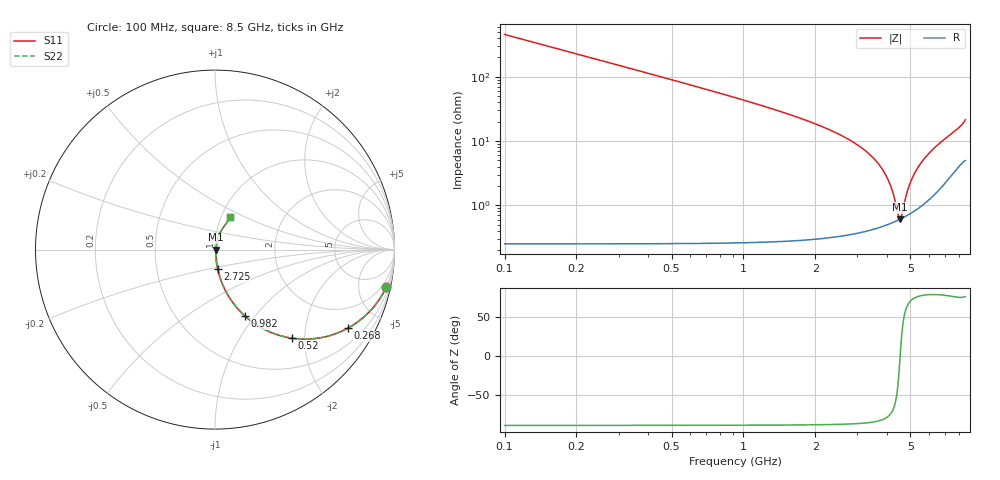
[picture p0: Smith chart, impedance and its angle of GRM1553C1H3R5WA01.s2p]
!Murata Part Number: GRM1553C1H3R5WA01
!These Parameters are Measured in Series Mode Connection
!Data Generated on Mar 30, 2021
!  o--ll--o
!Port1  Port2
!  o------o
!Operation Temp=25[degC], DC Bias Voltage=0[V]
!Freq. Start=100[MHz] Stop=9[GHz] 401[Steps]
# Hz S RI R 50
!Freq.(Hz) S11(Real) S11(Imag) S21(Real) S21(Imag) S12(Real) S12(Imag) S22(Real) S22(Imag)
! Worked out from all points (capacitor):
!   401 points, 100 MHz to 8.5 GHz, reference 50 ohm
!   read as one part in series: C = 3.5 pF near 142 MHz
!   lowest |Z| = 607 mohm at 4.531 GHz (marker M1)
!   series resonance near 4.532 GHz, so ESL is about 350 pH
!   S11 on the Smith chart (normalised r, x): 100 MHz: 1.01, -9.09; 268 MHz: 1.01, -3.38; 520 MHz: 1.01, -1.73; 982 MHz: 1.01, -0.88; 2.725 GHz: 1.01, -0.22; 8.5 GHz: 1.10, +0.42
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1e8  0.9537 -0.2098  0.0463 0.2098  0.0463 0.2098  0.9537 -0.2098
2.68e8  0.7406 -0.4376  0.2594 0.4376  0.2594 0.4376  0.7406 -0.4376
3.73e8  0.5945 -0.49  0.4055 0.49  0.4055 0.49  0.5945 -0.49
5.2e8  0.4274 -0.4932  0.5726 0.4932  0.5726 0.4932  0.4274 -0.4932
7.3e8  0.2704 -0.4421  0.7296 0.4421  0.7296 0.4421  0.2704 -0.4421
9.82e8  0.1651 -0.3683  0.8349 0.3683  0.8349 0.3683  0.1651 -0.3683
1.507e9  0.0701 -0.2502  0.9299 0.2502  0.9299 0.2502  0.0701 -0.2502
2.725e9  0.0149 -0.1066  0.9851 0.1066  0.9851 0.1066  0.0149 -0.1066
2.914e9  0.0121 -0.0921  0.9879 0.0921  0.9879 0.0921  0.0121 -0.0921
3.418e9  0.00754 -0.0584  0.9925 0.0584  0.9925 0.0584  0.00754 -0.0584
3.796e9  0.00597 -0.0368  0.994 0.0368  0.994 0.0368  0.00597 -0.0368
4.09e9  0.00556 -0.0214  0.9944 0.0214  0.9944 0.0214  0.00556 -0.0214
4.3e9  0.00563 -0.011  0.9944 0.011  0.9944 0.011  0.00563 -0.011
4.468e9  0.00589 -0.00299  0.9941 0.00299  0.9941 0.00299  0.00589 -0.00299
4.531e9  0.00603 -5.46e-05  0.994 5.46e-05  0.994 5.46e-05  0.00603 -5.46e-05
4.594e9  0.00619 0.00285  0.9938 -0.00285  0.9938 -0.00285  0.00619 0.00285
4.846e9  0.00708 0.0142  0.9929 -0.0142  0.9929 -0.0142  0.00708 0.0142
5.035e9  0.00798 0.0224  0.992 -0.0224  0.992 -0.0224  0.00798 0.0224
5.329e9  0.0098 0.0349  0.9902 -0.0349  0.9902 -0.0349  0.0098 0.0349
5.707e9  0.0129 0.0504  0.9871 -0.0504  0.9871 -0.0504  0.0129 0.0504
7.114e9  0.0349 0.1055  0.9651 -0.1055  0.9651 -0.1055  0.0349 0.1055
8.5e9  0.0836 0.1822  0.9164 -0.1822  0.9164 -0.1822  0.0836 0.1822
